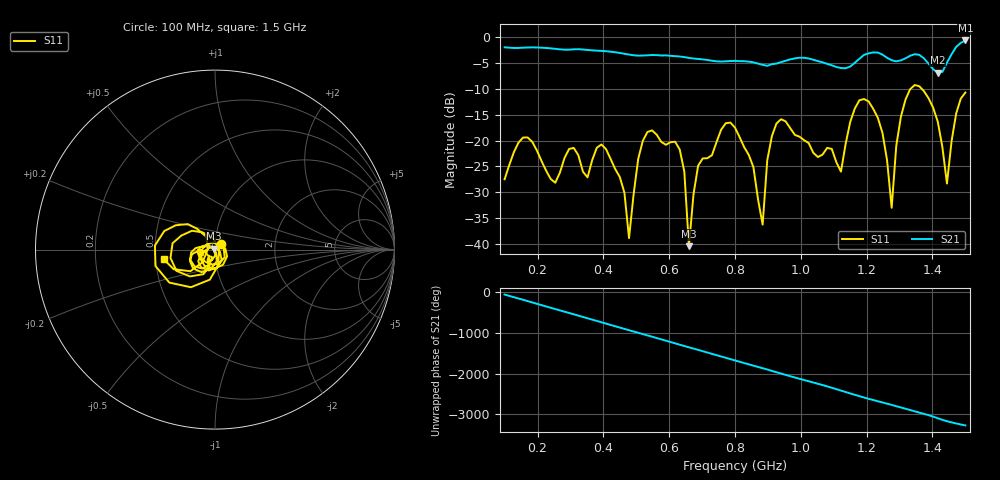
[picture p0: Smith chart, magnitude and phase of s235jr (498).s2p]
! NanoVNA-App
! Date: 2025-09-25 15:08:02
! Start: 100MHz Stop: 1,5GHz Points: 101
! S-Parameter data: F S11 S21 S12 S22
# Hz S RI R 50
!  Frequency  S11_Real  S11_Imag  S21_Real  S21_Imag  S12_Real  S12_Imag  S22_Real  S22_Imag
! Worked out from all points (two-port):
!   101 points, 100 MHz to 1.5 GHz, reference 50 ohm
!   highest |S21| = -0.64 dB at 1.5 GHz (marker M1); lowest = -6.9 dB at 1.416 GHz (marker M2)
!   |S21| within 3 dB of the highest: start of sweep to 610.6 MHz; 1.188 GHz to 1.254 GHz (65.95 MHz wide, 5.4 % of centre) (the widest 2 of 4)
!   lowest |S11| = -40.4 dB at 660 MHz (marker M3), VSWR 1.02, Z = 49.2 + j0.529 ohm
!   |S11| at or under -10 dB: start of sweep to 1.333 GHz; 1.368 GHz to end of sweep
!   S12 and S22 are empty: the file has one direction only
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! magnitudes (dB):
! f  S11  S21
! 100 MHz  -27.5  -2.0
! 156 MHz  -19.4  -2.0
! 338 MHz  -26.0  -2.4
! 408 MHz  -21.6  -2.7
! 478 MHz  -38.8  -3.4
! 520 MHz  -20.0  -3.6
! 576 MHz  -20.3  -3.5
! 632 MHz  -21.7  -3.7
! 660 MHz  -40.4  -4.0
! 688 MHz  -24.8  -4.2
! 800 MHz  -17.5  -4.6
! 884 MHz  -36.2  -5.4
! 926 MHz  -16.7  -5.1
! 1.038 GHz  -22.4  -4.4
! 1.122 GHz  -26.0  -6.0
! 1.206 GHz  -12.4  -3.1
! 1.248 GHz  -18.5  -3.4
! 1.276 GHz  -33.0  -4.5
! 1.332 GHz  -10.1  -3.6
! 1.416 GHz  -16.3  -6.9
! 1.444 GHz  -28.3  -4.9
! 1.5 GHz  -10.7  -0.6
